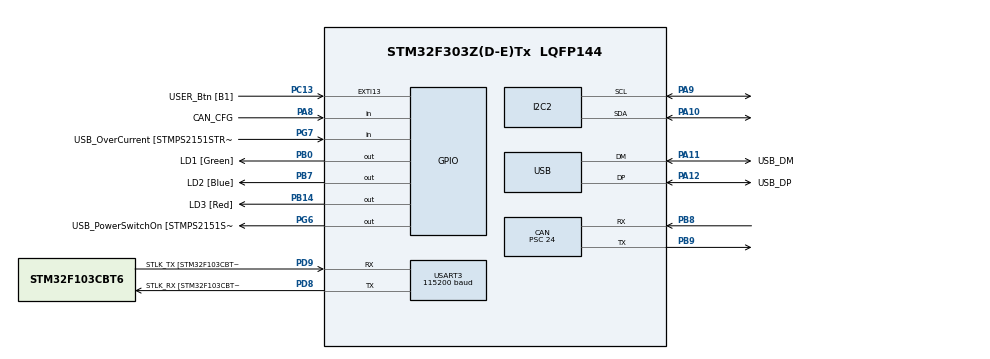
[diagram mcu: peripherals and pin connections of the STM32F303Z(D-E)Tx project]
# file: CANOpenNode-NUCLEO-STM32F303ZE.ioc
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CAN.ABOM=ENABLE
CAN.BS1=CAN_BS1_10TQ
CAN.CalculateBaudRate=124999
CAN.CalculateTimeBit=8000
CAN.CalculateTimeQuantum=666.6666666666667
CAN.NART=ENABLE
CAN.Prescaler=24
Mcu.Family=STM32F3
Mcu.Name=STM32F303Z(D-E)Tx
Mcu.Package=LQFP144
NVIC.CAN_RX1_IRQn=true\:0\:0\:false\:false\:true\:true\:true\:true
NVIC.CAN_SCE_IRQn=true\:0\:0\:false\:false\:true\:true\:true\:true
NVIC.PriorityGroup=NVIC_PRIORITYGROUP_4
NVIC.TIM1_TRG_COM_TIM17_IRQn=true\:0\:0\:false\:false\:true\:true\:true\:true
NVIC.USB_HP_CAN_TX_IRQn=true\:0\:0\:false\:false\:true\:true\:true\:true
NVIC.USB_LP_CAN_RX0_IRQn=true\:0\:0\:false\:false\:true\:true\:true\:true
PA10.Mode=I2C
PA10.Signal=I2C2_SDA
PA11.GPIO_Label=USB_DM
PA11.Mode=Device
PA11.Signal=USB_DM
PA12.GPIO_Label=USB_DP
PA12.Mode=Device
PA12.Signal=USB_DP
PA13.GPIO_Label=TMS
PA13.Mode=Serial_Wire
PA13.Signal=SYS_JTMS-SWDIO
PA14.GPIO_Label=TCK
PA14.Mode=Serial_Wire
PA14.Signal=SYS_JTCK-SWCLK
PA8.GPIO_Label=CAN_CFG
PA8.GPIO_PuPd=GPIO_PULLUP
PA8.Signal=GPIO_Input
PA9.Mode=I2C
PA9.Signal=I2C2_SCL
PB0.GPIO_Label=LD1 [Green]
PB0.Signal=GPIO_Output
PB14.GPIO_Label=LD3 [Red]
PB14.Signal=GPIO_Output
PB3.GPIO_Label=SWO
PB3.Signal=SYS_JTDO-TRACESWO
PB7.GPIO_Label=LD2 [Blue]
PB7.Signal=GPIO_Output
PB8.Mode=CAN_Activate
PB8.Signal=CAN_RX
PB9.Mode=CAN_Activate
PB9.Signal=CAN_TX
PC13.GPIO_Label=USER_Btn [B1]
PC13.Signal=GPXTI13
PC14-OSC32_IN.Mode=LSE-External-Oscillator
PC14-OSC32_IN.Signal=RCC_OSC32_IN
PC15-OSC32_OUT.Mode=LSE-External-Oscillator
PC15-OSC32_OUT.Signal=RCC_OSC32_OUT
PD8.GPIO_Label=STLK_RX [STM32F103CBT6_PA3]
PD8.Mode=Asynchronous
PD8.Signal=USART3_TX
PD9.GPIO_Label=STLK_TX [STM32F103CBT6_PA2]
PD9.Mode=Asynchronous
PD9.Signal=USART3_RX
PF0-OSC_IN.GPIO_Label=MCO [STM32F103CBT6_PA8]
PF0-OSC_IN.Mode=HSE-External-Clock-Source
PF0-OSC_IN.Signal=RCC_OSC_IN
PG6.GPIO_Label=USB_PowerSwitchOn [STMPS2151STR_EN]
PG6.Signal=GPIO_Output
PG7.GPIO_Label=USB_OverCurrent [STMPS2151STR_FAULT]
PG7.Signal=GPIO_Input
ProjectManager.HeapSize=0x200
ProjectManager.StackSize=0x400
ProjectManager.TargetToolchain=STM32CubeIDE
RCC.AHBFreq_Value=72000000
RCC.APB1CLKDivider=RCC_HCLK_DIV2
RCC.APB1Freq_Value=36000000
RCC.APB1TimFreq_Value=72000000
RCC.APB2Freq_Value=72000000
RCC.APB2TimFreq_Value=72000000
RCC.CortexFreq_Value=72000000
RCC.HCLKFreq_Value=72000000
RCC.HSE_VALUE=8000000
RCC.HSI_VALUE=8000000
RCC.PLLMUL=RCC_PLL_MUL9
RCC.PRESCALERUSB=RCC_USBCLKSOURCE_PLL_DIV1_5
RCC.SYSCLKFreq_VALUE=72000000
RCC.SYSCLKSourceVirtual=RCC_SYSCLKSOURCE_PLLCLK
RCC.USBFreq_Value=48000000
TIM17.Period=999
TIM17.Prescaler=71
USART3.BaudRate=115200
USART3.VirtualMode-Asynchronous=VM_ASYNC
VP_RTC_VS_RTC_Activate.Mode=RTC_Enabled
VP_TIM17_VS_ClockSourceINT.Mode=Enable_Timer
board=NUCLEO-F303ZE

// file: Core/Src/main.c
/* USER CODE BEGIN Header */
/**
  ******************************************************************************
  * @file           : main.c
  * @brief          : Main program body
  ******************************************************************************
  * @attention
  *
  * Copyright (c) 2022 STMicroelectronics.
  * All rights reserved.
  *
  * This software is licensed under terms that can be found in the LICENSE file
  * in the root directory of this software component.
  * If no LICENSE file comes with this software, it is provided AS-IS.
  *
  ******************************************************************************
  */
/* USER CODE END Header */
#include "main.h"
#include "can.h"
#include "i2c.h"
#include "rtc.h"
#include "tim.h"
#include "usart.h"
#include "gpio.h"
#include "usb.h"

/* USER CODE BEGIN Includes */
#include "CO_app_STM32.h"
/* USER CODE END Includes */

void SystemClock_Config(void);
/* USER CODE BEGIN PFP */
int mainCAN (void);
/* USER CODE END PFP */

/* USER CODE BEGIN 0 */
/* Timer interrupt function executes every 1 ms */
void
HAL_TIM_PeriodElapsedCallback(TIM_HandleTypeDef* htim) {
    if (htim == canopenNodeSTM32->timerHandle) {
        canopen_app_interrupt();
    }
}
int __io_putchar(int ch) {
	while ((USART3->ISR & USART_ISR_TXE) == 0x00); // Wait until TXE is zero
	USART3->TDR = ch;
}
/* USER CODE END 0 */

int main(void)
{

  /* MCU Configuration--------------------------------------------------------*/

  /* Reset of all peripherals, Initializes the Flash interface and the Systick. */
  HAL_Init();

  /* Configure the system clock */
  SystemClock_Config();

  /* Initialize all configured peripherals */
  MX_GPIO_Init();
  MX_RTC_Init();
  MX_USART3_UART_Init();
  MX_USB_PCD_Init();
  MX_CAN_Init();
  MX_TIM17_Init();
  MX_I2C2_Init();
  /* USER CODE BEGIN 2 */
  /* CANHandle : Pass in the CAN Handle to this function and it wil be used for all CAN Communications. It can be FDCan or CAN
   * and CANOpenSTM32 Driver will take of care of handling that
   * HWInitFunction : Pass in the function that initialize the CAN peripheral, usually MX_CAN_Init
   * timerHandle : Pass in the timer that is going to be used for generating 1ms interrupt for tmrThread function,
   * please note that CANOpenSTM32 Library will override HAL_TIM_PeriodElapsedCallback function, if you also need this function
   * in your codes, please take required steps
   * desiredNodeID : This is the Node ID that you ask the CANOpen stack to assign to your device, although it might not always
   * be the final NodeID, after calling canopen_app_init() you should check ActiveNodeID of CANopenNodeSTM32 structure for assigned Node ID.
   * baudrate: This is the baudrate you've set in your CubeMX Configuration
   *
   */
  CANopenNodeSTM32 canOpenNodeSTM32;
  canOpenNodeSTM32.CANHandle = &hcan;
  canOpenNodeSTM32.HWInitFunction = MX_CAN_Init;
  canOpenNodeSTM32.timerHandle = &htim17;
  canOpenNodeSTM32.desiredNodeID = 29;
  canOpenNodeSTM32.baudrate = 125;
  canopen_app_init(&canOpenNodeSTM32);
  /* USER CODE END 2 */

  /* Infinite loop */
  /* USER CODE BEGIN WHILE */
  while (1)
  {
	  canopen_app_process();
    /* USER CODE END WHILE */

  }
}

void SystemClock_Config(void)
{
  LL_FLASH_SetLatency(LL_FLASH_LATENCY_2);
  while(LL_FLASH_GetLatency()!= LL_FLASH_LATENCY_2)
  {
  }
  LL_RCC_HSE_EnableBypass();
  LL_RCC_HSE_Enable();

   /* Wait till HSE is ready */
  while(LL_RCC_HSE_IsReady() != 1)
  {

  }
  LL_RCC_HSI_Enable();

   /* Wait till HSI is ready */
  while(LL_RCC_HSI_IsReady() != 1)
  {

  }
  LL_RCC_HSI_SetCalibTrimming(16);
  LL_RCC_LSI_Enable();

   /* Wait till LSI is ready */
  while(LL_RCC_LSI_IsReady() != 1)
  {

  }
  LL_PWR_EnableBkUpAccess();
  if(LL_RCC_GetRTCClockSource() != LL_RCC_RTC_CLKSOURCE_LSI)
  {
    LL_RCC_ForceBackupDomainReset();
    LL_RCC_ReleaseBackupDomainReset();
    LL_RCC_SetRTCClockSource(LL_RCC_RTC_CLKSOURCE_LSI);
  }
  LL_RCC_EnableRTC();
  LL_RCC_PLL_ConfigDomain_SYS(LL_RCC_PLLSOURCE_HSE, LL_RCC_PLL_MUL_9, LL_RCC_PREDIV_DIV_1);
  LL_RCC_PLL_Enable();

   /* Wait till PLL is ready */
  while(LL_RCC_PLL_IsReady() != 1)
  {

  }
  LL_RCC_SetAHBPrescaler(LL_RCC_SYSCLK_DIV_1);
  LL_RCC_SetAPB1Prescaler(LL_RCC_APB1_DIV_2);
  LL_RCC_SetAPB2Prescaler(LL_RCC_APB2_DIV_1);
  LL_RCC_SetSysClkSource(LL_RCC_SYS_CLKSOURCE_PLL);

   /* Wait till System clock is ready */
  while(LL_RCC_GetSysClkSource() != LL_RCC_SYS_CLKSOURCE_STATUS_PLL)
  {

  }
  LL_SetSystemCoreClock(72000000);

   /* Update the time base */
  if (HAL_InitTick (TICK_INT_PRIORITY) != HAL_OK)
  {
    Error_Handler();
  }
  LL_RCC_SetUSARTClockSource(LL_RCC_USART3_CLKSOURCE_PCLK1);
  LL_RCC_SetI2CClockSource(LL_RCC_I2C2_CLKSOURCE_HSI);
  LL_RCC_SetTIMClockSource(LL_RCC_TIM17_CLKSOURCE_PCLK2);
  LL_RCC_SetUSBClockSource(LL_RCC_USB_CLKSOURCE_PLL_DIV_1_5);
}

void Error_Handler(void)
{
  __disable_irq();
  while (1)
  {
  }
}
